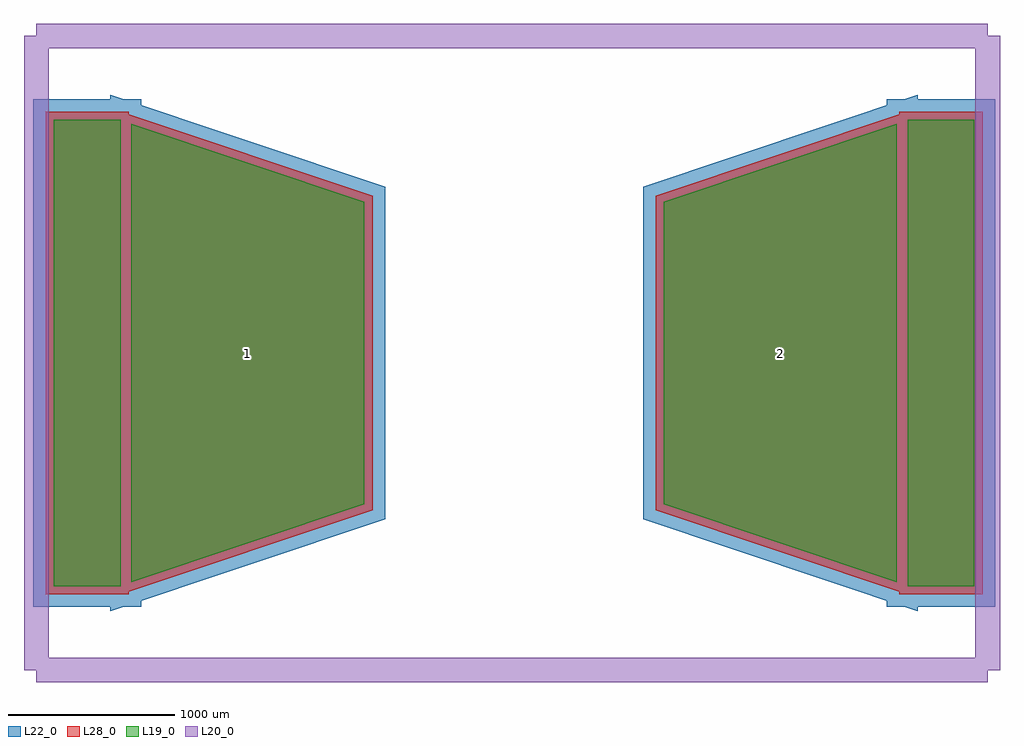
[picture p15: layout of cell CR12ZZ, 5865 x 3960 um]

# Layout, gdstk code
import gdstk
lib = gdstk.Library(unit=1e-6, precision=1e-09)
def R(c, l, rs):  # rectangles x0, y0, x1, y1
    for r in rs: c.add(gdstk.rectangle(r[:2], r[2:], *l))
def P(c, l, *ps):  # polygons
    for p in ps: c.add(gdstk.Polygon(p, *l))
L19_0 = (19, 0)
L20_0 = (20, 0)
L22_0 = (22, 0)
L28_0 = (28, 0)

cr12zz = lib.new_cell('CR12ZZ')
R(cr12zz, L19_0, [(-2435.39,-1400.34,-2035.01,1400.34), (2695.41,-1400.34,3095.79,1400.34)])
P(cr12zz, L19_0, [(1229.83,-910.112),(1229.83,910.112),(2630.97,1377.159),(2630.97,-1377.159)],
  [(-1970.57,-1377.159),(-1970.57,1377.159),(-569.43,910.112),(-569.43,-910.112)])
R(cr12zz, L22_0, [(-2560.39,-1525.34,-1910.01,1525.34), (2570.41,-1525.34,3220.79,1525.34)])
P(cr12zz, L22_0, [(1104.83,-1000.207),(1104.83,1000.207),(2755.97,1550.587),(2755.97,-1550.587)],
  [(-2095.57,-1550.587),(-2095.57,1550.587),(-444.43,1000.207),(-444.43,-1000.207)])
R(cr12zz, L28_0, [(-2485.39,-1450.34,-1985.01,1450.34), (2645.41,-1450.34,3145.79,1450.34)])
P(cr12zz, L28_0, [(1179.83,-946.15),(1179.83,946.15),(2680.97,1446.53),(2680.97,-1446.53)],
  [(-2020.57,-1446.53),(-2020.57,1446.53),(-519.43,946.15),(-519.43,-946.15)])
cr12zz.add(gdstk.FlexPath([(-2540,-1905),(-2540,1905)], 149.998, ends="flush", simple_path=True, layer=20, datatype=0))  # L20_0
cr12zz.add(gdstk.FlexPath([(3175,-1905),(-2540,-1905)], 149.998, ends="flush", simple_path=True, layer=20, datatype=0))  # L20_0
cr12zz.add(gdstk.FlexPath([(3175,1905),(3175,-1905)], 149.998, ends="flush", simple_path=True, layer=20, datatype=0))  # L20_0
cr12zz.add(gdstk.FlexPath([(-2540,1905),(3175,1905)], 149.998, ends="flush", simple_path=True, layer=20, datatype=0))  # L20_0
cr12zz.add(gdstk.FlexPath([(-2540,-1270),(-2540,1270)], 149.998, ends="flush", simple_path=True, layer=20, datatype=0))  # L20_0
cr12zz.add(gdstk.FlexPath([(3175,1270),(3175,-1270)], 149.998, ends="flush", simple_path=True, layer=20, datatype=0))  # L20_0
cr12zz.add(gdstk.Label('2', (1930.4,0), layer=28, texttype=0))
cr12zz.add(gdstk.Label('1', (-1270,0), layer=28, texttype=0))
cr12zz.add(gdstk.Label('type', (381,-2921), layer=9, texttype=0))
cr12zz.add(gdstk.Label('devicename', (127,2794), layer=9, texttype=0))

lib.write_gds('CR12ZZ.gds')
